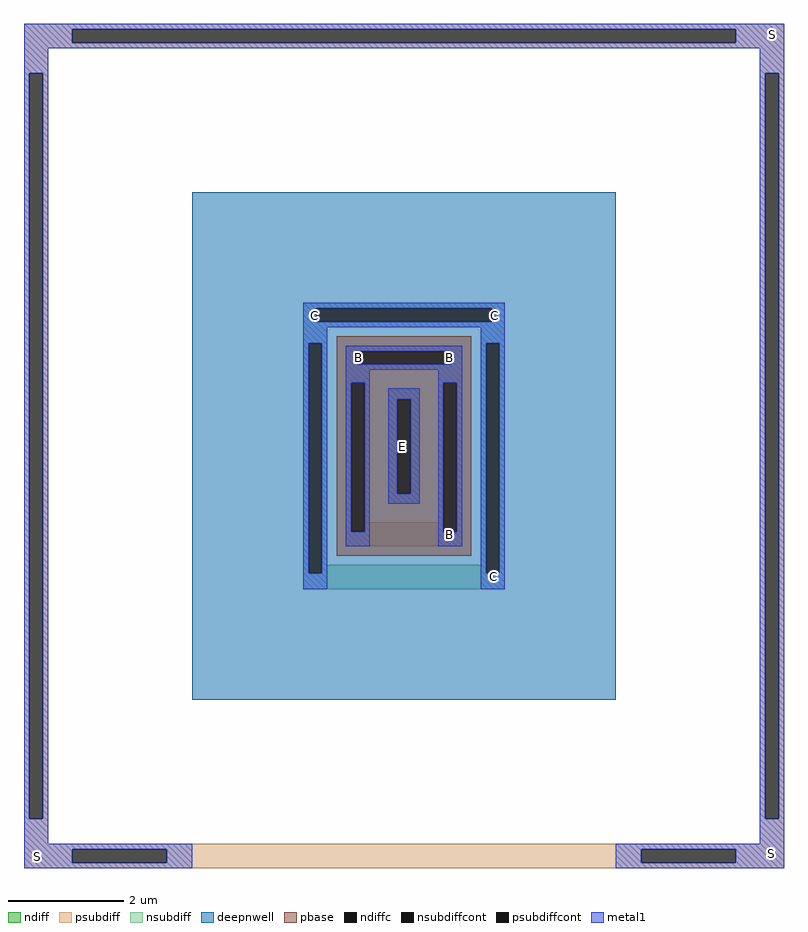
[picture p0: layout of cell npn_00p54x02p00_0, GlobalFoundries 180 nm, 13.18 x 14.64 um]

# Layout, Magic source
magic
tech gf180mcuD
magscale 1 10
<< deepnwell >>
rect -680 -680 788 1080
<< pbase >>
rect -180 -180 288 580
<< ndiff >>
rect 0 363 108 400
rect 0 35 31 363
rect 77 35 108 363
rect 0 0 108 35
<< ndiffc >>
rect 31 35 77 363
<< psubdiff >>
rect -1264 1645 1372 1664
rect -1264 1599 -1097 1645
rect 1205 1599 1372 1645
rect -1264 1580 1372 1599
rect -1264 1492 -1180 1580
rect -1264 -1092 -1245 1492
rect -1199 -1092 -1180 1492
rect 1288 1492 1372 1580
rect -148 529 256 548
rect -148 483 -109 529
rect 219 483 256 529
rect -148 464 256 483
rect -148 419 -64 464
rect -148 -97 -129 419
rect -83 -64 -64 419
rect 172 419 256 464
rect 172 -64 191 419
rect -83 -97 191 -64
rect 237 -97 256 419
rect -148 -148 256 -97
rect -1264 -1180 -1180 -1092
rect 1288 -1092 1307 1492
rect 1353 -1092 1372 1492
rect 1288 -1180 1372 -1092
rect -1264 -1199 1372 -1180
rect -1264 -1245 -1097 -1199
rect -769 -1245 877 -1199
rect 1205 -1245 1372 -1199
rect -1264 -1264 1372 -1245
<< nsubdiff >>
rect -296 677 404 696
rect -296 631 -251 677
rect 359 631 404 677
rect -296 612 404 631
rect -296 557 -212 612
rect -296 -241 -277 557
rect -231 -212 -212 557
rect 320 557 404 612
rect 320 -212 339 557
rect -231 -241 339 -212
rect 385 -241 404 557
rect -296 -296 404 -241
<< psubdiffcont >>
rect -1097 1599 1205 1645
rect -1245 -1092 -1199 1492
rect -109 483 219 529
rect -129 -97 -83 419
rect 191 -97 237 419
rect 1307 -1092 1353 1492
rect -1097 -1245 -769 -1199
rect 877 -1245 1205 -1199
<< nsubdiffcont >>
rect -251 631 359 677
rect -277 -241 -231 557
rect 339 -241 385 557
<< metal1 >>
rect -1264 1645 1372 1664
rect -1264 1599 -1097 1645
rect 1205 1599 1372 1645
rect -1264 1580 1372 1599
rect -1264 1492 -1180 1580
rect -1264 -1092 -1245 1492
rect -1199 -1092 -1180 1492
rect 1288 1492 1372 1580
rect -296 677 404 696
rect -296 631 -251 677
rect 359 631 404 677
rect -296 612 404 631
rect -296 557 -212 612
rect -296 -241 -277 557
rect -231 -241 -212 557
rect 320 557 404 612
rect -148 529 256 548
rect -148 483 -109 529
rect 219 483 256 529
rect -148 464 256 483
rect -148 419 -64 464
rect -148 -97 -129 419
rect -83 -97 -64 419
rect 172 419 256 464
rect 0 363 108 400
rect 0 35 31 363
rect 77 35 108 363
rect 0 0 108 35
rect -148 -148 -64 -97
rect 172 -97 191 419
rect 237 -97 256 419
rect 172 -148 256 -97
rect -296 -296 -212 -241
rect 320 -241 339 557
rect 385 -241 404 557
rect 320 -296 404 -241
rect -1264 -1180 -1180 -1092
rect 1288 -1092 1307 1492
rect 1353 -1092 1372 1492
rect 1288 -1180 1372 -1092
rect -1264 -1199 -680 -1180
rect -1264 -1245 -1097 -1199
rect -769 -1245 -680 -1199
rect -1264 -1264 -680 -1245
rect 788 -1199 1372 -1180
rect 788 -1245 877 -1199
rect 1205 -1245 1372 -1199
rect 788 -1264 1372 -1245
<< labels >>
flabel ndiffc 50 199 50 199 0 FreeSans 400 0 0 0 E
flabel psubdiffcont -104 506 -104 506 0 FreeSans 400 0 0 0 B
flabel metal1 211 -106 211 -106 0 FreeSans 400 0 0 0 B
flabel psubdiffcont 212 507 212 507 0 FreeSans 400 0 0 0 B
flabel metal1 -255 654 -255 654 0 FreeSans 400 0 0 0 C
flabel metal1 365 -253 365 -253 0 FreeSans 400 0 0 0 C
flabel metal1 367 652 367 652 0 FreeSans 400 0 0 0 C
flabel metal1 -1218 -1223 -1218 -1223 0 FreeSans 400 0 0 0 S
flabel metal1 -1218 -1223 -1218 -1223 0 FreeSans 400 0 0 0 S
flabel metal1 1327 -1214 1327 -1214 0 FreeSans 400 0 0 0 S
flabel metal1 1327 -1214 1327 -1214 0 FreeSans 400 0 0 0 S
flabel metal1 1331 1627 1331 1627 0 FreeSans 400 0 0 0 S
<< properties >>
string GDS_END 11884
string GDS_FILE $PDKPATH/libs.ref/gf180mcu_fd_pr/gds/npn_00p54x02p00.gds
string GDS_START 112
string gencell npn_00p54x02p00
string library gf180mcu
string parameter m=1
<< end >>
